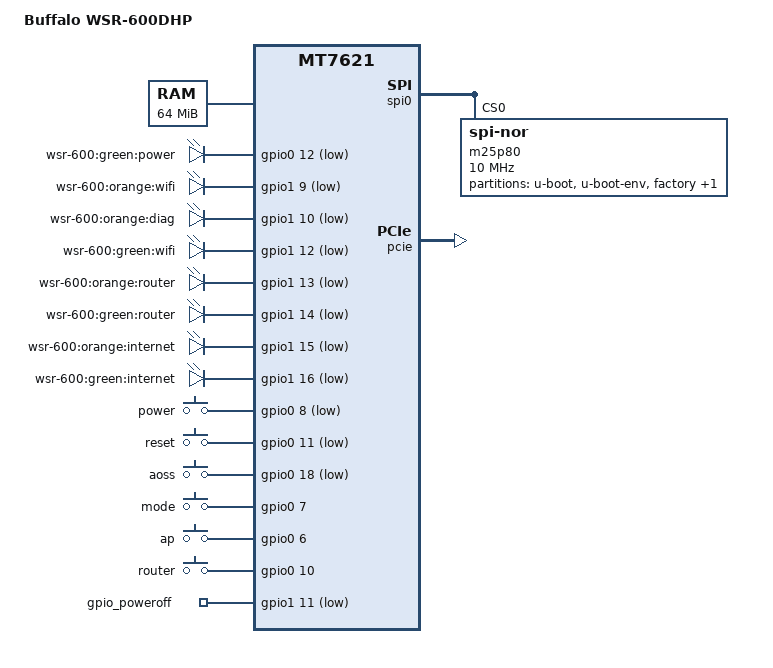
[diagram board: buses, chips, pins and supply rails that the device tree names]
/dts-v1/;

#include "mt7621.dtsi"

#include <dt-bindings/gpio/gpio.h>
#include <dt-bindings/input/input.h>

/ {
	compatible = "buffalo,wsr-600dhp", "mediatek,mt7621-soc";
	model = "Buffalo WSR-600DHP";

	memory@0 {
		device_type = "memory";
		reg = <0x0 0x4000000>;
	};

	chosen {
		bootargs = "console=ttyS0,57600";
	};

	gpio-leds {
		compatible = "gpio-leds";

		power {
			label = "wsr-600:green:power";
			gpios = <&gpio0 12 GPIO_ACTIVE_LOW>;
		};

		wifi_o {
			label = "wsr-600:orange:wifi";
			gpios = <&gpio1 9 GPIO_ACTIVE_LOW>;
		};

		diag {
			label = "wsr-600:orange:diag";
			gpios = <&gpio1 10 GPIO_ACTIVE_LOW>;
		};

		wifi_g {
			label = "wsr-600:green:wifi";
			gpios = <&gpio1 12 GPIO_ACTIVE_LOW>;
		};

		router_o {
			label = "wsr-600:orange:router";
			gpios = <&gpio1 13 GPIO_ACTIVE_LOW>;
		};

		router_g {
			label = "wsr-600:green:router";
			gpios = <&gpio1 14 GPIO_ACTIVE_LOW>;
		};

		internet_o {
			label = "wsr-600:orange:internet";
			gpios = <&gpio1 15 GPIO_ACTIVE_LOW>;
		};

		internet_g {
			label = "wsr-600:green:internet";
			gpios = <&gpio1 16 GPIO_ACTIVE_LOW>;
		};
	};

	gpio-keys-polled {
		compatible = "gpio-keys-polled";
		#address-cells = <1>;
		#size-cells = <0>;
		poll-interval = <20>;

		power {
			label = "power";
			gpios = <&gpio0 8 GPIO_ACTIVE_LOW>;
			linux,code = <KEY_POWER>;
		};

		reset {
			label = "reset";
			gpios = <&gpio0 11 GPIO_ACTIVE_LOW>;
			linux,code = <KEY_RESTART>;
		};

		aoss {
			label = "aoss";
			gpios = <&gpio0 18 GPIO_ACTIVE_LOW>;
			linux,code = <KEY_WPS_BUTTON>;
		};

		auto {
			label = "mode";
			gpios = <&gpio0 7 GPIO_ACTIVE_HIGH>;
			linux,code = <BTN_0>;
			linux,input-type = <EV_SW>;
		};

		ap {
			label = "ap";
			gpios = <&gpio0 6 GPIO_ACTIVE_HIGH>;
			linux,code = <BTN_0>;
			linux,input-type = <EV_SW>;
		};

		router {
			label = "router";
			gpios = <&gpio0 10 GPIO_ACTIVE_HIGH>;
			linux,code = <BTN_0>;
			linux,input-type = <EV_SW>;
		};
	};

	gpio_poweroff {
		compatible = "gpio-poweroff";
		gpios = <&gpio1 11 GPIO_ACTIVE_LOW>;
	};
};

&spi0 {
	status = "okay";

	m25p80@0 {
		#address-cells = <1>;
		#size-cells = <1>;
		compatible = "jedec,spi-nor";
		reg = <0>;
		spi-max-frequency = <10000000>;
		m25p,chunked-io = <32>;

		partition@0 {
			label = "u-boot";
			reg = <0x0 0x30000>;
			read-only;
		};

		partition@30000 {
			label = "u-boot-env";
			reg = <0x30000 0x10000>;
			read-only;
		};

		factory: partition@40000 {
			label = "factory";
			reg = <0x40000 0x10000>;
			read-only;
		};

		partition@50000 {
			label = "firmware";
			reg = <0x50000 0xfb0000>;
		};
	};
};

&pinctrl {
	state_default: pinctrl0 {
		gpio {
			ralink,group = "i2c", "uart2", "uart3", "rgmii2", "sdhci";
			ralink,function = "gpio";
		};
	};
};

&pcie {
	status = "okay";

	pcie0 {
		rt5592@0,0 {
			reg = <0x0000 0 0 0 0>;
			device_type = "pci";
			ralink,mtd-eeprom = <&factory 0x8000>;
		};
	};

	pcie1 {
		mt76@1,0 {
			reg = <0x0000 0 0 0 0>;
			device_type = "pci";
			mediatek,mtd-eeprom = <&factory 0x0000>;
		};
	};
};

&xhci {
	status = "disabled";
};
